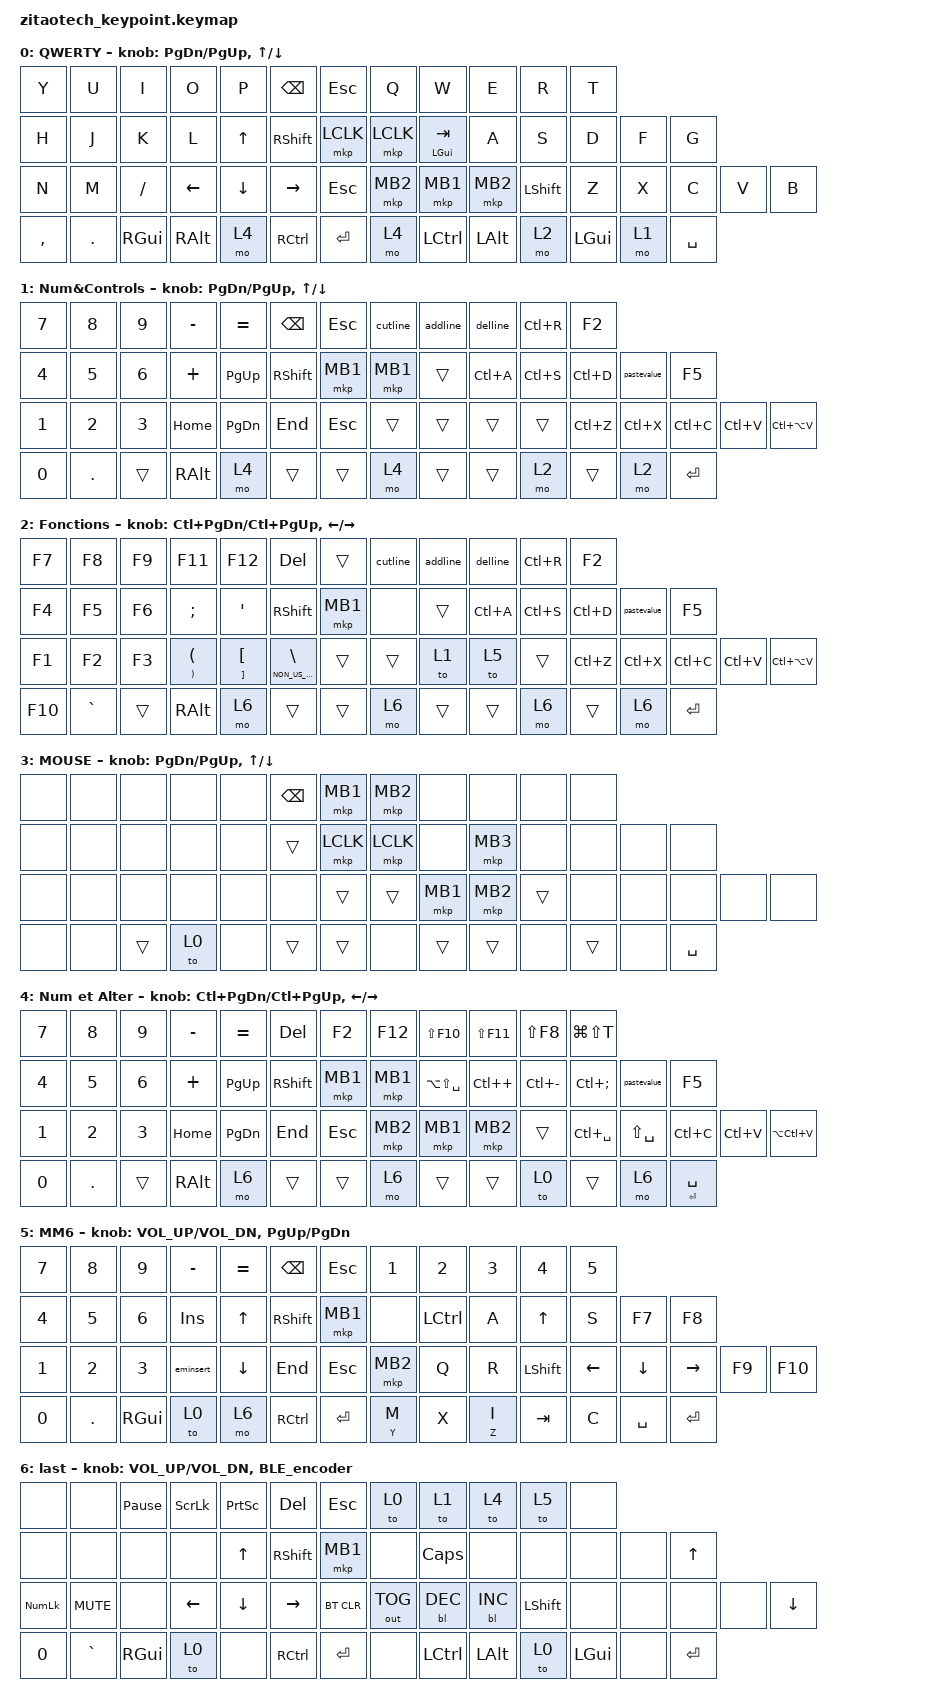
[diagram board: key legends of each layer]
/*
 * Copyright (c) 2025 ZitaoTech
 *
 * SPDX-License-Identifier: MIT
 */

#include <dt-bindings/zmk/mouse.h>
#include <behaviors.dtsi>
#include <dt-bindings/zmk/backlight.h>
#include <dt-bindings/zmk/bt.h>
#include <dt-bindings/zmk/keys.h>
#include <dt-bindings/zmk/outputs.h>
#include <dt-bindings/zmk/pointing.h>

#define LOWER 1
#define RAISE 2
#define MOUSE 3
#define BOT bootloader

/ {
    behaviors {
        td0: tap_dance_0 {
            compatible = "zmk,behavior-tap-dance";
            #binding-cells = <0>;
            tapping-term-ms = <400>;
            bindings = <&mkp LCLK>, <&bt BT_CLR>;
        };
    };

    behaviors {
        tdRMCLK: tap_dance_R_LMouse {
            compatible = "zmk,behavior-tap-dance";
            #binding-cells = <0>;
            tapping-term-ms = <400>;
            bindings = <&mkp RCLK>, <&mkp MCLK>;
        };
    };

    behaviors {
        hm: homerow_mods {
            compatible = "zmk,behavior-hold-tap";
            #binding-cells = <2>;
            tapping-term-ms = <500>;
            bindings = <&kp &kp>;
        };
    };

    behaviors {
        LMouse_sc: behavior_LMouse_Scroll {
            compatible = "zmk,behavior-hold-tap";
            #binding-cells = <2>;
            flavor = "tap-preferred";     /* 单击优先 */
            tapping-term-ms = <200>;       /* 长按阈值 */
            bindings = <&none &mkp>;        /* hold=none, tap=Lmouse */
        };
    };

    behaviors {
        M_kp: behavior_mouse_keypress {
            compatible = "zmk,behavior-hold-tap";
            #binding-cells = <2>;
            flavor = "tap-preferred";     /* 单击优先 */
            tapping-term-ms = <200>;       /* 长按阈值 */
            bindings = <&mkp &kp>;        /* hold=mou key press, tap=key*/
        };
    };

    behaviors {
        BLE_encoder: BLE_encoder {
            compatible = "zmk,behavior-sensor-rotate";
            #sensor-binding-cells = <0>;
            bindings = <&bt BT_NXT>, <&bt BT_PRV>;
        };
    };

    macros {
        pastevalue: pastevalue {
            compatible = "zmk,behavior-macro";
            #binding-cells = <0>;
            bindings = <&kp LA(LC(V)) &kp V &kp RET>;
            label = "PASTEVALUE";
            wait-ms = <100>;
        };

        cutline: cutline {
            compatible = "zmk,behavior-macro";
            #binding-cells = <0>;
            bindings = <&kp LS(SPACE) &kp LC(X)>;
            label = "CUTLINE";
            wait-ms = <290>;
        };

        addline: Adeline {
            compatible = "zmk,behavior-macro";
            #binding-cells = <0>;
            bindings = <&kp LS(SPACE) &kp LC(PLUS)>;
            label = "ADELINE";
            wait-ms = <290>;
        };

        delline: delline {
            compatible = "zmk,behavior-macro";
            #binding-cells = <0>;
            bindings = <&kp LS(SPACE) &kp LC(MINUS)>;
            label = "DELLINE";
            wait-ms = <290>;
        };

        eminsert: eminsert {
            compatible = "zmk,behavior-macro";
            #binding-cells = <0>;
            bindings = <&kp INS &kp RET>;
            label = "EMINSERT";
        };
    };

    keymap {
        compatible = "zmk,keymap";

        default_layer {
            display-name = "QWERTY";
            bindings = <
&kp Y      &kp U       &kp I          &kp O     &kp P         &kp BACKSPACE      &kp ESCAPE  &kp Q      &kp W             &kp E         &kp R           &kp T
&kp H      &kp J       &kp K          &kp L     &kp UP_ARROW  &kp RIGHT_SHIFT    &mkp LCLK   &mkp LCLK  &mt LEFT_GUI TAB  &kp A         &kp S           &kp D         &kp F  &kp G
&kp N      &kp M       &kp SLASH      &kp LEFT  &kp DOWN      &kp RIGHT          &kp ESCAPE  &mkp MB2   &mkp MB1          &mkp MB2      &kp LEFT_SHIFT  &kp Z         &kp X  &kp C      &kp V  &kp B
&kp COMMA  &kp PERIOD  &kp RIGHT_GUI  &kp RALT  &mo 4         &kp RIGHT_CONTROL  &kp RET     &mo 4      &kp LEFT_CONTROL  &kp LEFT_ALT  &mo 2           &kp LEFT_GUI  &mo 1  &kp SPACE
            >;

            sensor-bindings =
                <&inc_dec_kp PAGE_DOWN PAGE_UP>,
                <&inc_dec_kp UP_ARROW DOWN>;
        };

        Secondary {
            display-name = "Num&Controls";
            bindings = <
&kp N7        &kp N8        &kp N9        &kp MINUS  &kp EQUAL      &kp BACKSPACE  &kp ESC   &cutline  &addline  &delline   &kp LC(R)  &kp F2
&kp NUMBER_4  &kp N5        &kp NUMBER_6  &kp PLUS   &kp PAGE_UP    &kp RSHFT      &mkp MB1  &mkp MB1  &trans    &kp LC(A)  &kp LC(S)  &kp LC(D)  &pastevalue  &kp F5
&kp NUMBER_1  &kp NUMBER_2  &kp NUMBER_3  &kp HOME   &kp PAGE_DOWN  &kp END        &kp ESC   &trans    &trans    &trans     &trans     &kp LC(Z)  &kp LC(X)    &kp LC(C)  &kp LC(V)  &kp LC(LA(V))
&kp N0        &kp PERIOD    &trans        &kp RALT   &mo 4          &trans         &trans    &mo 4     &trans    &trans     &mo 2      &trans     &mo 2        &kp ENTER
            >;

            sensor-bindings =
                <&inc_dec_kp PAGE_DOWN PAGE_UP>,
                <&inc_dec_kp UP_ARROW DOWN_ARROW>;
        };

        Funtions {
            display-name = "Fonctions";
            bindings = <
&kp F7   &kp F8     &kp F9  &kp F11                                 &kp F12                &kp DELETE                 &trans    &cutline  &addline  &delline   &kp LC(R)  &kp F2
&kp F4   &kp F5     &kp F6  &kp SEMI                                &kp APOS               &kp RIGHT_SHIFT            &mkp MB1  &none     &trans    &kp LC(A)  &kp LC(S)  &kp LC(D)  &pastevalue  &kp F5
&kp F1   &kp F2     &kp F3  &mt RIGHT_PARENTHESIS LEFT_PARENTHESIS  &mt RBKT LEFT_BRACKET  &mt NON_US_BSLH BACKSLASH  &trans    &trans    &to 1     &to 5      &trans     &kp LC(Z)  &kp LC(X)    &kp LC(C)  &kp LC(V)  &kp LC(LA(V))
&kp F10  &kp GRAVE  &trans  &kp RALT                                &mo 6                  &trans                     &trans    &mo 6     &trans    &trans     &mo 6      &trans     &mo 6        &kp RET
            >;

            sensor-bindings =
                <&inc_dec_kp LC(PAGE_DOWN) LC(PAGE_UP)>,
                <&inc_dec_kp LEFT RIGHT>;
        };

        MOUSE_layer {
            display-name = "MOUSE";
            bindings = <
&none  &none  &none   &none  &none  &kp BACKSPACE  &mkp MB1   &mkp MB2   &none     &none     &none   &none
&none  &none  &none   &none  &none  &trans         &mkp LCLK  &mkp LCLK  &none     &mkp MB3  &none   &none   &none  &none
&none  &none  &none   &none  &none  &none          &trans     &trans     &mkp MB1  &mkp MB2  &trans  &none   &none  &none      &none  &none
&none  &none  &trans  &to 0  &none  &trans         &trans     &none      &trans    &trans    &none   &trans  &none  &kp SPACE
            >;

            sensor-bindings =
                <&inc_dec_kp PAGE_DOWN PAGE_UP>,
                <&inc_dec_kp UP_ARROW DOWN>;
        };

        Alternative {
            display-name = "Num et Alter";
            bindings = <
&kp N7  &kp N8   &kp N9  &kp MINUS  &kp EQUAL      &kp DEL          &kp F2    &kp F12   &kp LS(F10)        &kp LS(F11)   &kp LS(F8)     &kp LG(LS(T))
&kp N4  &kp N5   &kp N6  &kp PLUS   &kp PAGE_UP    &kp RIGHT_SHIFT  &mkp MB1  &mkp MB1  &kp LA(LS(SPACE))  &kp LC(PLUS)  &kp LC(MINUS)  &kp LC(SEMI)   &pastevalue    &kp F5
&kp N1  &kp N2   &kp N3  &kp HOME   &kp PAGE_DOWN  &kp END          &kp ESC   &mkp MB2  &mkp MB1           &mkp MB2      &trans         &kp LC(SPACE)  &kp LS(SPACE)  &kp LC(C)      &kp LC(V)  &kp LA(LC(V))
&kp N0  &kp DOT  &trans  &kp RALT   &mo 6          &trans           &trans    &mo 6     &trans             &trans        &to 0          &trans         &mo 6          &mt RET SPACE
            >;

            sensor-bindings =
                <&inc_dec_kp LC(PAGE_DOWN) LC(PAGE_UP)>,
                <&inc_dec_kp LEFT RIGHT>;
        };

        MM6 {
            bindings = <
&kp N7        &kp N8        &kp N9         &kp MINUS  &kp EQUAL       &kp BACKSPACE      &kp ESC     &kp N1    &kp N2     &kp N3   &kp N4        &kp N5
&kp NUMBER_4  &kp N5        &kp NUMBER_6   &kp INS    &kp UP_ARROW    &kp RIGHT_SHIFT    &mkp MB1    &none     &kp LCTRL  &kp A    &kp UP_ARROW  &kp S     &kp F7     &kp F8
&kp NUMBER_1  &kp NUMBER_2  &kp NUMBER_3   &eminsert  &kp DOWN_ARROW  &kp END            &kp ESCAPE  &mkp MB2  &kp Q      &kp R    &kp LSHFT     &kp LEFT  &kp DOWN   &kp RIGHT  &kp F9  &kp F10
&kp N0        &kp PERIOD    &kp RIGHT_GUI  &to 0      &mo 6           &kp RIGHT_CONTROL  &kp RET     &mt Y M   &kp X      &mt Z I  &kp TAB       &kp C     &kp SPACE  &kp ENTER
            >;

            sensor-bindings =
                <&inc_dec_kp C_VOLUME_UP C_VOL_DN>,
                <&inc_dec_kp PAGE_UP PAGE_DOWN>;

            label = "MM6";
        };

        RES_layer {
            display-name = "last";
            bindings = <
&none           &none       &kp PAUSE_BREAK  &kp SCROLLLOCK  &kp PRINTSCREEN  &kp DELETE       &kp ESCAPE  &to 0         &to 1       &to 4       &to 5      &none
&none           &none       &none            &none           &kp UP_ARROW     &kp RIGHT_SHIFT  &mkp MB1    &none         &kp CAPS    &none       &none      &none     &none  &kp UP_ARROW
&kp KP_NUMLOCK  &kp C_MUTE  &none            &kp LEFT        &kp DOWN_ARROW   &kp RIGHT        &bt BT_CLR  &out OUT_TOG  &bl BL_DEC  &bl BL_INC  &kp LSHFT  &none     &none  &none         &none  &kp DOWN
&kp N0          &kp GRAVE   &kp RGUI         &to 0           &none            &kp RCTRL        &kp ENTER   &none         &kp LCTRL   &kp LALT    &to 0      &kp LGUI  &none  &kp RET
            >;

            sensor-bindings =
                <&inc_dec_kp C_VOLUME_UP C_VOL_DN>,
                <&BLE_encoder>;
        };
    };
};
